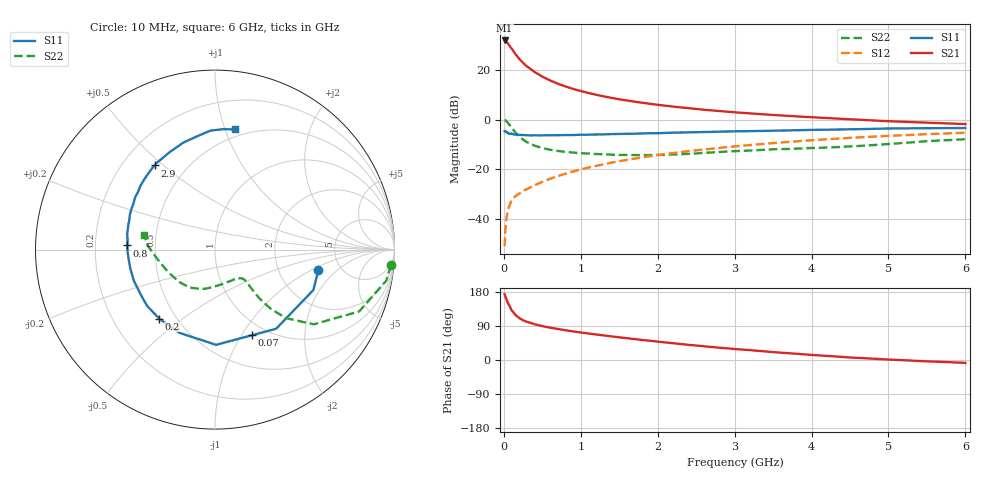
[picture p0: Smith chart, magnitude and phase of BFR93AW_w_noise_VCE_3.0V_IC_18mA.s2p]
! Infineon Technologies  Discrete & RF Semiconductors
! BFR93AW
! VCE =  3.0 V,  IC =  18 mA
! Common Emitter S-Parameters:  Jan 2017
# GHz  S  MA  R  50
!  f  S11  S21  S12  S22
! GHz  MAG  ANG  MAG  ANG  MAG  ANG  MAG  ANG
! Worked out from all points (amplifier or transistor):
!   77 points, 10 MHz to 6 GHz, reference 50 ohm
!   highest |S21| = 31.7 dB at 10 MHz (marker M1)
!   |S21| within 3 dB of that: start of sweep to 94.35 MHz
!   unconditionally stable (mu >= 1): 653.1 MHz to 2.107 GHz
!   at 130 MHz: K = 0.44, MSG = 29.3 dB, |S12| = -31.4 dB
!   at 2.2 GHz: K = 0.99, MSG = 9.3 dB, |S12| = -13.4 dB
!   at 6 GHz: K = 0.89, MSG = 1.7 dB, |S12| = -5.3 dB
!   lowest NFmin = 1.47 dB at 450 MHz
!   S11 on the Smith chart (normalised r, x): 10 MHz: 3.40, -1.18; 70 MHz: 0.85, -1.11; 200 MHz: 0.41, -0.41; 800 MHz: 0.34, +0.02; 2.9 GHz: 0.33, +0.47; 6 GHz: 0.44, +1.08
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0.01  0.5874 -11.2  38.6 173.6  0.0029 82.0  0.9832 -5.0
0.02  0.5926 -22.3  38.5 167.7  0.0063 85.8  0.9707 -10.2
0.05  0.5572 -52.3  34.33 151.0  0.0146 70.6  0.8741 -23.2
0.07  0.5198 -66.5  30.84 144.3  0.0183 65.7  0.7951 -28.0
0.1  0.5307 -89.3  26.64 131.2  0.0239 61.3  0.6899 -37.1
0.15  0.5042 -113.2  20.63 118.9  0.0292 55.0  0.5507 -43.9
0.2  0.4944 -128.9  16.53 110.8  0.0327 55.4  0.4583 -46.6
0.25  0.4914 -140.1  13.71 104.8  0.0372 55.9  0.3967 -47.5
0.3  0.4843 -148.0  11.65 100.7  0.0405 56.7  0.3522 -47.6
0.4  0.4843 -159.2  8.969 94.2  0.0482 60.3  0.2995 -46.9
0.5  0.4833 -167.2  7.251 89.4  0.0564 62.5  0.2681 -46.2
0.6  0.484 -173.3  6.104 85.3  0.065 63.4  0.2484 -45.7
0.7  0.4868 -178.3  5.258 81.9  0.0735 65.5  0.2354 -45.6
0.8  0.4895 177.3  4.626 78.5  0.0823 66.7  0.2259 -46.3
1.1  0.4988 166.8  3.416 70.0  0.1095 67.4  0.2085 -50.2
1.5  0.5156 155.6  2.557 59.9  0.1462 66.2  0.1959 -59.7
2.1  0.5403 141.5  1.9 46.4  0.2038 62.7  0.1971 -80.1
2.9  0.5771 125.7  1.442 30.8  0.2801 56.2  0.2285 -106.9
3.1  0.5845 121.9  1.366 27.5  0.2993 54.2  0.2363 -112.7
4.1  0.6243 105.0  1.095 12.1  0.3942 44.0  0.2719 -141.7
5.1  0.6647 90.9  0.916 0.3  0.4796 32.7  0.3319 -172.9
6  0.6787 80.4  0.813 -7.5  0.5442 22.4  0.4049 168.4
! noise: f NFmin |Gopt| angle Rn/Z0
0.45  1.47  0.13  155  0.14
0.9  1.74  0.23  172  0.15
1.9  2.74  0.47  -140  0.22
2.4  3.36  0.54  -127  0.43
